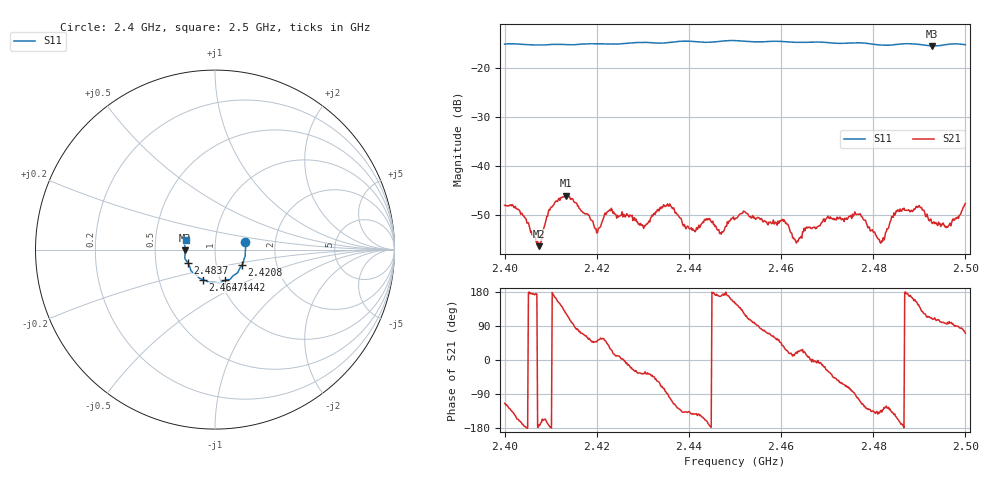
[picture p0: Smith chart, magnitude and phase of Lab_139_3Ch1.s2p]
# Hz S RI R 50
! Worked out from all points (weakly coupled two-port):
!   601 points, 2.4 GHz to 2.5 GHz, reference 50 ohm
!   highest |S21| = -46.02 dB at 2.4133 GHz (marker M1); lowest = -56.3 dB at 2.4075 GHz (marker M2)
!   lowest |S11| = -15.6 dB at 2.4928 GHz (marker M3), VSWR 1.40, Z = 35.8 - j0.348 ohm
!   |S11| at or under -10 dB: start of sweep to end of sweep
!   S12 and S22 are empty: the file has one direction only
!   S11 on the Smith chart (normalised r, x): 2.4 GHz: 1.40, +0.12; 2.4208 GHz: 1.33, -0.24; 2.4442 GHz: 1.05, -0.37; 2.4647 GHz: 0.83, -0.29; 2.4837 GHz: 0.73, -0.11; 2.5 GHz: 0.72, +0.08
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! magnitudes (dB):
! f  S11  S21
! 2.4 GHz  -15.2  -48.0
! 2.4075 GHz  -15.4  -56.3
! 2.41 GHz  -15.3  -48.5
! 2.4133 GHz  -15.3  -46.0
! 2.4167 GHz  -15.2  -49.2
! 2.4208 GHz  -15.2  -52.4
! 2.4228 GHz  -15.2  -48.9
! 2.4333 GHz  -15.0  -48.9
! 2.441 GHz  -14.7  -53.1
! 2.4442 GHz  -14.9  -50.8
! 2.4472 GHz  -14.6  -53.4
! 2.45 GHz  -14.5  -50.8
! 2.4647 GHz  -14.9  -53.4
! 2.4667 GHz  -14.8  -52.7
! 2.4765 GHz  -15.0  -49.8
! 2.4815 GHz  -15.4  -55.6
! 2.4833 GHz  -15.5  -52.6
! 2.4837 GHz  -15.5  -51.4
! 2.4898 GHz  -15.3  -48.1
! 2.4928 GHz  -15.6  -51.7
! 2.4963 GHz  -15.3  -52.1
! 2.5 GHz  -15.4  -47.6
